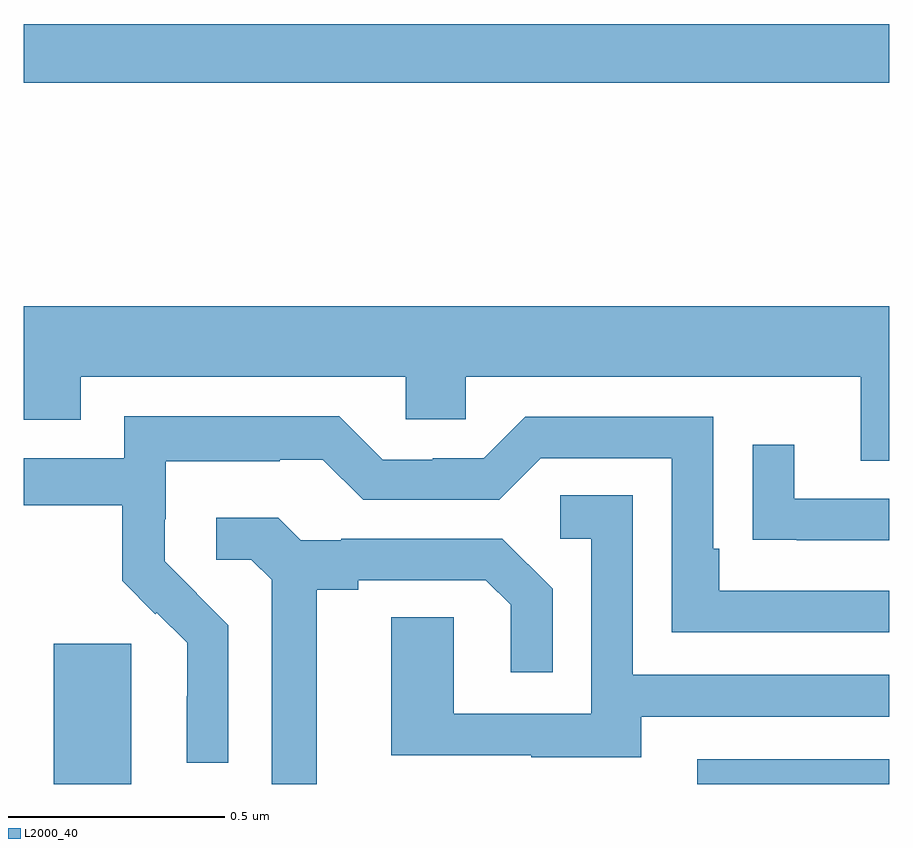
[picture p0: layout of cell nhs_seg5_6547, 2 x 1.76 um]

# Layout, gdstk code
import gdstk
lib = gdstk.Library(unit=1e-6, precision=1e-09)
def R(c, l, rs):  # rectangles x0, y0, x1, y1
    for r in rs: c.add(gdstk.rectangle(r[:2], r[2:], *l))
def P(c, l, *ps):  # polygons
    for p in ps: c.add(gdstk.Polygon(p, *l))
L2000_40 = (2000, 40)

nhs_seg5_6547 = lib.new_cell('nhs_seg5_6547')
R(nhs_seg5_6547, L2000_40, [(197.069,875.799,197.248,876.123), (198.557,875.799,199,875.856), (197,877.42,199,877.556)])
P(nhs_seg5_6547, L2000_40, [(199,876.904),(197,876.904),(197,876.641),(197.131,876.641),(197.131,876.74),(197.883,876.74),(197.883,876.642),(198.021,876.642),(198.021,876.74),(198.935,876.74),(198.935,876.546),(199,876.546)],
  [(197.472,876.166),(197.399,876.239),(197.4,876.24),(197.326,876.314),(197.326,876.411),(197.328,876.411),(197.328,876.545),(197.591,876.545),(197.591,876.549),(197.691,876.549),(197.784,876.456),(198.099,876.456),(198.195,876.552),(198.498,876.552),(198.498,876.15),(199,876.15),(199,876.246),(198.607,876.246),(198.607,876.343),(198.594,876.343),(198.594,876.648),(198.159,876.648),(198.063,876.552),(197.945,876.552),(197.945,876.549),(197.829,876.549),(197.729,876.649),(197.232,876.649),(197.232,876.552),(197,876.552),(197,876.444),(197.227,876.444),(197.227,876.269),(197.304,876.192),(197.307,876.195),(197.378,876.125),(197.378,876.002),(197.376,876.002),(197.376,875.848),(197.472,875.848)],
  [(199,876.459),(198.781,876.459),(198.781,876.583),(198.685,876.583),(198.685,876.364),(198.787,876.364),(198.787,876.363),(199,876.363)],
  [(198.427,875.955),(199,875.955),(199,876.051),(198.408,876.051),(198.408,876.467),(198.24,876.467),(198.24,876.366),(198.312,876.366),(198.312,875.961),(197.994,875.961),(197.994,876.185),(197.849,876.185),(197.849,875.865),(198.173,875.865),(198.173,875.861),(198.427,875.861)],
  [(197.677,876.248),(197.773,876.248),(197.773,876.27),(198.068,876.27),(198.125,876.213),(198.125,876.057),(198.222,876.057),(198.222,876.25),(198.106,876.366),(197.734,876.366),(197.734,876.363),(197.64,876.363),(197.588,876.415),(197.445,876.415),(197.445,876.318),(197.526,876.318),(197.573,876.271),(197.573,875.799),(197.677,875.799)])

lib.write_gds('nhs_seg5_6547.gds')
